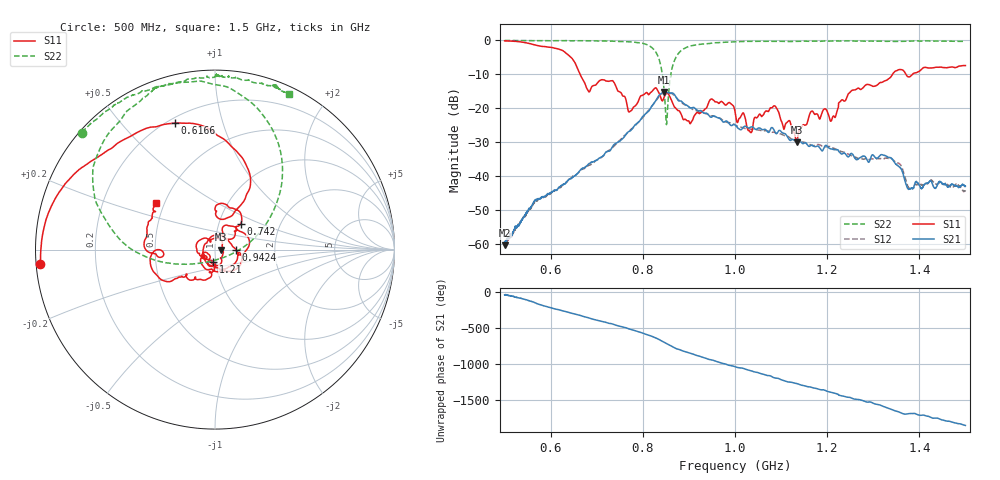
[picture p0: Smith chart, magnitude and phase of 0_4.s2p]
!Agilent Technologies,E8364B,US42250235,A.06.04.32
!Agilent E8364B: A.06.04.32
!Date: Thursday, October 01, 2020 14:02:52
!Correction: S11(Full 2 Port(1,2)) S21(Full 2 Port(1,2)) S12(Full 2 Port(1,2)) S22(Full 2 Port(1,2))
!S2P File: Measurements: S11, S21, S12, S22:
# Hz S  dB  R 50
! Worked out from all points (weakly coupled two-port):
!   2650 points, 500 MHz to 1.5 GHz, reference 50 ohm
!   highest |S21| = -15.32 dB at 845 MHz (marker M1); lowest = -60.5 dB at 500 MHz (marker M2)
!   lowest |S11| = -30.1 dB at 1.134 GHz (marker M3), VSWR 1.06, Z = 53.2 + j0.00843 ohm
!   |S11| at or under -10 dB: 663.6 MHz to 1.342 GHz (678.5 MHz wide, 67.7 % of centre); 1.37 GHz to 1.386 GHz (15.33 MHz wide, 1.11 % of centre)
!   |S22| runs from -24.9 to -0.1 dB; largest |S21 - S12| = 0.023
!   S11 on the Smith chart (normalised r, x): 500 MHz: 0.01, -0.04; 616.6 MHz: 0.23, +0.71; 742 MHz: 1.27, +0.38; 942.4 MHz: 1.27, -0.01; 1.21 GHz: 0.97, -0.13; 1.5 GHz: 0.45, +0.29
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5e8  -0.21 -175.2  -60.55 -47.1  -60.22 -48.4  -0.13 138.6
6.166478e8  -2.62 107.7  -43.68 109.6  -43.71 104.7  -0.16 125.0
6.668554e8  -10.96 60.0  -37.99 23.1  -38.23 18.2  -0.18 121.0
7.419781e8  -13.82 45.2  -30.42 -107.1  -30.61 -109.5  -0.37 108.2
7.721782e8  -21.00 54.0  -26.80 -161.6  -26.58 -167.3  -0.51 96.3
8.103058e8  -15.72 42.3  -21.19 120.0  -21.01 114.4  -1.43 76.9
8.337108e8  -15.26 -1.7  -16.55 61.1  -16.89 53.3  -5.07 47.7
8.450359e8  -17.26 -7.2  -15.32 19.9  -15.58 12.9  -13.14 15.2
8.522084e8  -15.68 -28.8  -15.47 -3.9  -15.68 -10.5  -23.93 -101.9
8.639109e8  -18.31 -71.1  -15.59 -41.4  -15.85 -49.1  -8.01 -174.9
8.797659e8  -20.97 -118.0  -17.91 -84.2  -17.84 -93.0  -3.53 162.0
9.424311e8  -18.53 -1.2  -22.04 142.3  -21.99 139.4  -1.02 127.4
1.000189e9  -21.16 -149.7  -24.99 38.0  -24.99 33.4  -0.47 112.8
1.033031e9  -27.14 -144.9  -25.72 -12.2  -26.25 -19.0  -0.36 110.6
1.086636e9  -19.42 159.6  -27.04 -116.2  -27.23 -113.3  -0.37 107.1
1.133824e9  -30.09 0.1  -29.56 167.2  -29.46 166.1  -0.34 99.0
1.166667e9  -20.93 -79.3  -31.00 113.1  -30.99 114.1  -0.33 92.8
1.210457e9  -23.23 -99.7  -32.10 42.0  -31.64 40.0  -0.26 88.8
1.251982e9  -15.01 -107.6  -33.39 -31.7  -34.07 -28.0  -0.22 89.6
1.333522e9  -11.36 -143.5  -34.57 -176.9  -34.86 -159.8  -0.34 79.1
1.378067e9  -10.85 -174.6  -43.86 111.9  -43.68 119.1  -0.31 70.6
1.5e9  -7.51 141.5  -43.07 -52.9  -44.27 -35.9  -0.37 64.6
